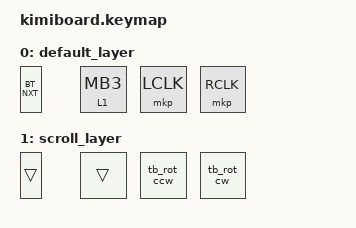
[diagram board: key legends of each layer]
#include <behaviors.dtsi>
#include <dt-bindings/zmk/bt.h>
#include <dt-bindings/zmk/keys.h>
#include <dt-bindings/zmk/mouse.h>
#include <behaviors/rgbled_widget.dtsi>
#include <dt-bindings/zmk/kimiboard.h>

&trackball {
    scroll-layers = <1>;
};

/ {
    keymap {
        compatible = "zmk,keymap";

        default_layer {
            bindings = <
                &bt BT_NXT  &lt 1 MB3  &mkp LCLK  &mkp RCLK
            >;
        };

        scroll_layer {
            bindings = <
                &trans          &trans      &tb_rot_ccw      &tb_rot_cw
            >;
        };
    };

    combos {
        compatible = "zmk,combos";

        combo_bt_clear {
            bindings = <&bt BT_CLR>;
            key-positions = <0 3>;
            timeout-ms = <50>;
        };
    };

};
